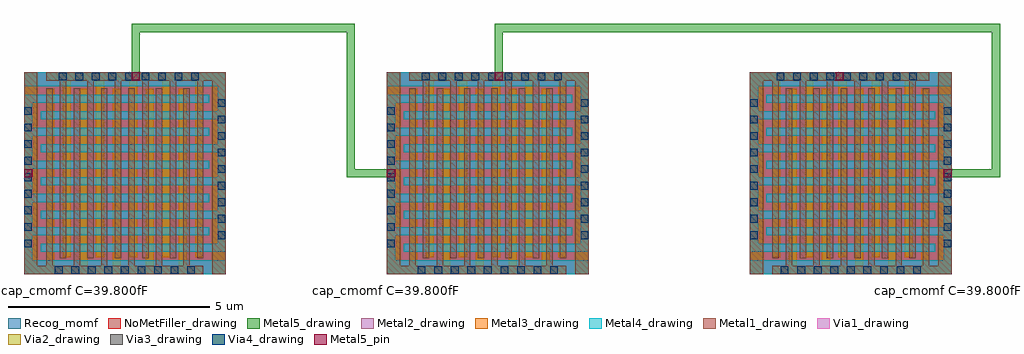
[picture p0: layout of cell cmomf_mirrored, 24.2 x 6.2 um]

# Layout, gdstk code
import gdstk
lib = gdstk.Library(unit=1e-6, precision=1e-09)
def R(c, l, rs):  # rectangles x0, y0, x1, y1
    for r in rs: c.add(gdstk.rectangle(r[:2], r[2:], *l))
def A(c, l, x, y, w, h, nx, ny, dx, dy):  # array of equal rectangles
    R(c, l, [(x+i*dx, y+j*dy, x+i*dx+w, y+j*dy+h) for i in range(nx) for j in range(ny)])
Metal1_drawing = (8, 0)
Metal2_drawing = (10, 0)
Via1_drawing = (19, 0)
Via2_drawing = (29, 0)
Metal3_drawing = (30, 0)
Via3_drawing = (49, 0)
Metal4_drawing = (50, 0)
Via4_drawing = (66, 0)
Metal5_drawing = (67, 0)
Metal5_pin = (67, 2)
Recog_momf = (99, 40)
NoMetFiller_drawing = (160, 0)

cmomf_mirrored = lib.new_cell('cmomf_mirrored')
A(cmomf_mirrored, Metal1_drawing, 0.55, 0, 0.16, 4.61, 6, 1, 0.68, 0)
A(cmomf_mirrored, Metal1_drawing, 9.55, 0, 0.16, 4.61, 6, 1, 0.68, 0)
A(cmomf_mirrored, Metal1_drawing, 18.89, 0, 0.16, 4.61, 6, 1, 0.68, 0)
A(cmomf_mirrored, Metal1_drawing, 0.89, 0.39, 0.16, 4.61, 6, 1, 0.68, 0)
A(cmomf_mirrored, Metal1_drawing, 9.89, 0.39, 0.16, 4.61, 6, 1, 0.68, 0)
A(cmomf_mirrored, Metal1_drawing, 18.55, 0.39, 0.16, 4.61, 6, 1, 0.68, 0)
R(cmomf_mirrored, Metal1_drawing, [(0,0,0.33,5), (0,0,4.45,0.21), (4.67,0,5,5), (9,0,9.33,5), (9,0,13.45,0.21), (13.67,0,14,5), (18,0,18.33,5), (18.55,0,23,0.21), (22.67,0,23,5), (0.55,4.79,5,5), (9.55,4.79,14,5), (18,4.79,22.45,5)])
A(cmomf_mirrored, Metal2_drawing, 0, 0, 5, 0.345, 3, 2, 9, 4.655)
A(cmomf_mirrored, Metal2_drawing, 0.42, 0.555, 4.58, 0.2, 1, 5, 0, 0.82)
A(cmomf_mirrored, Metal2_drawing, 9.42, 0.555, 4.58, 0.2, 1, 5, 0, 0.82)
A(cmomf_mirrored, Metal2_drawing, 18, 0.555, 4.58, 0.2, 1, 5, 0, 0.82)
A(cmomf_mirrored, Metal2_drawing, 0, 0.965, 4.58, 0.2, 1, 5, 0, 0.82)
A(cmomf_mirrored, Metal2_drawing, 9, 0.965, 4.58, 0.2, 1, 5, 0, 0.82)
A(cmomf_mirrored, Metal2_drawing, 18.42, 0.965, 4.58, 0.2, 1, 5, 0, 0.82)
R(cmomf_mirrored, Metal2_drawing, [(0,0,0.205,4.445), (9,0,9.205,4.445), (22.795,0,23,4.445), (4.795,0.555,5,5), (13.795,0.555,14,5), (18,0.555,18.205,5)])
A(cmomf_mirrored, Via1_drawing, 0.765, 0.01, 0.19, 0.19, 9, 1, 0.41, 0)
A(cmomf_mirrored, Via1_drawing, 9.765, 0.01, 0.19, 0.19, 9, 1, 0.41, 0)
A(cmomf_mirrored, Via1_drawing, 18.765, 0.01, 0.19, 0.19, 9, 1, 0.41, 0)
A(cmomf_mirrored, Via1_drawing, 0.01, 0.665, 0.19, 0.19, 1, 9, 0, 0.41)
A(cmomf_mirrored, Via1_drawing, 9.01, 0.665, 0.19, 0.19, 1, 9, 0, 0.41)
A(cmomf_mirrored, Via1_drawing, 22.8, 0.665, 0.19, 0.19, 1, 9, 0, 0.41)
A(cmomf_mirrored, Via1_drawing, 4.8, 0.865, 0.19, 0.19, 1, 9, 0, 0.41)
A(cmomf_mirrored, Via1_drawing, 13.8, 0.865, 0.19, 0.19, 1, 9, 0, 0.41)
A(cmomf_mirrored, Via1_drawing, 18.01, 0.865, 0.19, 0.19, 1, 9, 0, 0.41)
A(cmomf_mirrored, Via1_drawing, 0.865, 4.8, 0.19, 0.19, 9, 1, 0.41, 0)
A(cmomf_mirrored, Via1_drawing, 9.865, 4.8, 0.19, 0.19, 9, 1, 0.41, 0)
A(cmomf_mirrored, Via1_drawing, 18.665, 4.8, 0.19, 0.19, 9, 1, 0.41, 0)
A(cmomf_mirrored, Via2_drawing, 0.765, 0.005, 0.19, 0.19, 9, 1, 0.41, 0)
A(cmomf_mirrored, Via2_drawing, 9.765, 0.005, 0.19, 0.19, 9, 1, 0.41, 0)
A(cmomf_mirrored, Via2_drawing, 18.765, 0.005, 0.19, 0.19, 9, 1, 0.41, 0)
A(cmomf_mirrored, Via2_drawing, 0.005, 0.665, 0.19, 0.19, 1, 9, 0, 0.41)
A(cmomf_mirrored, Via2_drawing, 9.005, 0.665, 0.19, 0.19, 1, 9, 0, 0.41)
A(cmomf_mirrored, Via2_drawing, 22.805, 0.665, 0.19, 0.19, 1, 9, 0, 0.41)
A(cmomf_mirrored, Via2_drawing, 4.805, 0.865, 0.19, 0.19, 1, 9, 0, 0.41)
A(cmomf_mirrored, Via2_drawing, 13.805, 0.865, 0.19, 0.19, 1, 9, 0, 0.41)
A(cmomf_mirrored, Via2_drawing, 18.005, 0.865, 0.19, 0.19, 1, 9, 0, 0.41)
A(cmomf_mirrored, Via2_drawing, 0.865, 4.805, 0.19, 0.19, 9, 1, 0.41, 0)
A(cmomf_mirrored, Via2_drawing, 9.865, 4.805, 0.19, 0.19, 9, 1, 0.41, 0)
A(cmomf_mirrored, Via2_drawing, 18.665, 4.805, 0.19, 0.19, 9, 1, 0.41, 0)
A(cmomf_mirrored, Metal3_drawing, 0.555, 0, 0.2, 4.59, 5, 1, 0.82, 0)
A(cmomf_mirrored, Metal3_drawing, 9.555, 0, 0.2, 4.59, 5, 1, 0.82, 0)
A(cmomf_mirrored, Metal3_drawing, 18.965, 0, 0.2, 4.59, 5, 1, 0.82, 0)
A(cmomf_mirrored, Metal3_drawing, 0.965, 0.41, 0.2, 4.59, 5, 1, 0.82, 0)
A(cmomf_mirrored, Metal3_drawing, 9.965, 0.41, 0.2, 4.59, 5, 1, 0.82, 0)
A(cmomf_mirrored, Metal3_drawing, 18.555, 0.41, 0.2, 4.59, 5, 1, 0.82, 0)
R(cmomf_mirrored, Metal3_drawing, [(0,0,0.345,5), (0,0,4.445,0.2), (4.655,0,5,5), (9,0,9.345,5), (9,0,13.445,0.2), (13.655,0,14,5), (18,0,18.345,5), (18.555,0,23,0.2), (22.655,0,23,5), (0.555,4.8,5,5), (9.555,4.8,14,5), (18,4.8,22.445,5)])
A(cmomf_mirrored, Via3_drawing, 0.765, 0.005, 0.19, 0.19, 9, 1, 0.41, 0)
A(cmomf_mirrored, Via3_drawing, 9.765, 0.005, 0.19, 0.19, 9, 1, 0.41, 0)
A(cmomf_mirrored, Via3_drawing, 18.765, 0.005, 0.19, 0.19, 9, 1, 0.41, 0)
A(cmomf_mirrored, Via3_drawing, 0.005, 0.665, 0.19, 0.19, 1, 9, 0, 0.41)
A(cmomf_mirrored, Via3_drawing, 9.005, 0.665, 0.19, 0.19, 1, 9, 0, 0.41)
A(cmomf_mirrored, Via3_drawing, 22.805, 0.665, 0.19, 0.19, 1, 9, 0, 0.41)
A(cmomf_mirrored, Via3_drawing, 4.805, 0.865, 0.19, 0.19, 1, 9, 0, 0.41)
A(cmomf_mirrored, Via3_drawing, 13.805, 0.865, 0.19, 0.19, 1, 9, 0, 0.41)
A(cmomf_mirrored, Via3_drawing, 18.005, 0.865, 0.19, 0.19, 1, 9, 0, 0.41)
A(cmomf_mirrored, Via3_drawing, 0.865, 4.805, 0.19, 0.19, 9, 1, 0.41, 0)
A(cmomf_mirrored, Via3_drawing, 9.865, 4.805, 0.19, 0.19, 9, 1, 0.41, 0)
A(cmomf_mirrored, Via3_drawing, 18.665, 4.805, 0.19, 0.19, 9, 1, 0.41, 0)
A(cmomf_mirrored, Metal4_drawing, 0, 0, 5, 0.345, 3, 2, 9, 4.655)
A(cmomf_mirrored, Metal4_drawing, 0.41, 0.555, 4.59, 0.2, 1, 5, 0, 0.82)
A(cmomf_mirrored, Metal4_drawing, 9.41, 0.555, 4.59, 0.2, 1, 5, 0, 0.82)
A(cmomf_mirrored, Metal4_drawing, 18, 0.555, 4.59, 0.2, 1, 5, 0, 0.82)
A(cmomf_mirrored, Metal4_drawing, 0, 0.965, 4.59, 0.2, 1, 5, 0, 0.82)
A(cmomf_mirrored, Metal4_drawing, 9, 0.965, 4.59, 0.2, 1, 5, 0, 0.82)
A(cmomf_mirrored, Metal4_drawing, 18.41, 0.965, 4.59, 0.2, 1, 5, 0, 0.82)
R(cmomf_mirrored, Metal4_drawing, [(0,0,0.2,4.445), (9,0,9.2,4.445), (22.8,0,23,4.445), (4.8,0.555,5,5), (13.8,0.555,14,5), (18,0.555,18.2,5)])
A(cmomf_mirrored, Via4_drawing, 0.765, 0.005, 0.19, 0.19, 9, 1, 0.41, 0)
A(cmomf_mirrored, Via4_drawing, 9.765, 0.005, 0.19, 0.19, 9, 1, 0.41, 0)
A(cmomf_mirrored, Via4_drawing, 18.765, 0.005, 0.19, 0.19, 9, 1, 0.41, 0)
A(cmomf_mirrored, Via4_drawing, 0.005, 0.665, 0.19, 0.19, 1, 9, 0, 0.41)
A(cmomf_mirrored, Via4_drawing, 9.005, 0.665, 0.19, 0.19, 1, 9, 0, 0.41)
A(cmomf_mirrored, Via4_drawing, 22.805, 0.665, 0.19, 0.19, 1, 9, 0, 0.41)
A(cmomf_mirrored, Via4_drawing, 4.805, 0.865, 0.19, 0.19, 1, 9, 0, 0.41)
A(cmomf_mirrored, Via4_drawing, 13.805, 0.865, 0.19, 0.19, 1, 9, 0, 0.41)
A(cmomf_mirrored, Via4_drawing, 18.005, 0.865, 0.19, 0.19, 1, 9, 0, 0.41)
A(cmomf_mirrored, Via4_drawing, 0.865, 4.805, 0.19, 0.19, 9, 1, 0.41, 0)
A(cmomf_mirrored, Via4_drawing, 9.865, 4.805, 0.19, 0.19, 9, 1, 0.41, 0)
A(cmomf_mirrored, Via4_drawing, 18.665, 4.805, 0.19, 0.19, 9, 1, 0.41, 0)
A(cmomf_mirrored, Metal5_drawing, 0.555, 0, 0.2, 4.59, 5, 1, 0.82, 0)
A(cmomf_mirrored, Metal5_drawing, 9.555, 0, 0.2, 4.59, 5, 1, 0.82, 0)
A(cmomf_mirrored, Metal5_drawing, 18.965, 0, 0.2, 4.59, 5, 1, 0.82, 0)
A(cmomf_mirrored, Metal5_drawing, 0.965, 0.41, 0.2, 4.59, 5, 1, 0.82, 0)
A(cmomf_mirrored, Metal5_drawing, 9.965, 0.41, 0.2, 4.59, 5, 1, 0.82, 0)
A(cmomf_mirrored, Metal5_drawing, 18.555, 0.41, 0.2, 4.59, 5, 1, 0.82, 0)
R(cmomf_mirrored, Metal5_drawing, [(0,0,0.345,5), (0,0,4.445,0.2), (4.655,0,5,5), (9,0,9.345,5), (9,0,13.445,0.2), (13.655,0,14,5), (18,0,18.345,5), (18.555,0,23,0.2), (22.655,0,23,5), (8,2.4,8.2,6.2), (8,2.4,9.2,2.6), (22.8,2.4,24.2,2.6), (24,2.4,24.2,6.2), (0.555,4.8,5,5), (2.675,4.8,2.875,6.2), (9.555,4.8,14,5), (11.675,4.8,11.875,6.2), (18,4.8,22.445,5), (2.675,6,8.2,6.2), (11.675,6,24.2,6.2)])
R(cmomf_mirrored, Metal5_pin, [(0,2.4,0.2,2.6), (9,2.4,9.2,2.6), (22.8,2.4,23,2.6), (2.675,4.8,2.875,5), (11.675,4.8,11.875,5), (20.125,4.8,20.325,5)])
A(cmomf_mirrored, Recog_momf, 0, 0, 5, 5, 3, 1, 9, 0)
A(cmomf_mirrored, NoMetFiller_drawing, 0, 0, 5, 5, 3, 1, 9, 0)
cmomf_mirrored.add(gdstk.Label('cap_cmomf C=39.800fF', (0,-0.5), layer=63, texttype=0))
cmomf_mirrored.add(gdstk.Label('cap_cmomf C=39.800fF', (9,-0.5), layer=63, texttype=0))
cmomf_mirrored.add(gdstk.Label('cap_cmomf C=39.800fF', (23,-0.5), layer=63, texttype=0))

lib.write_gds('cmomf_mirrored.gds')
